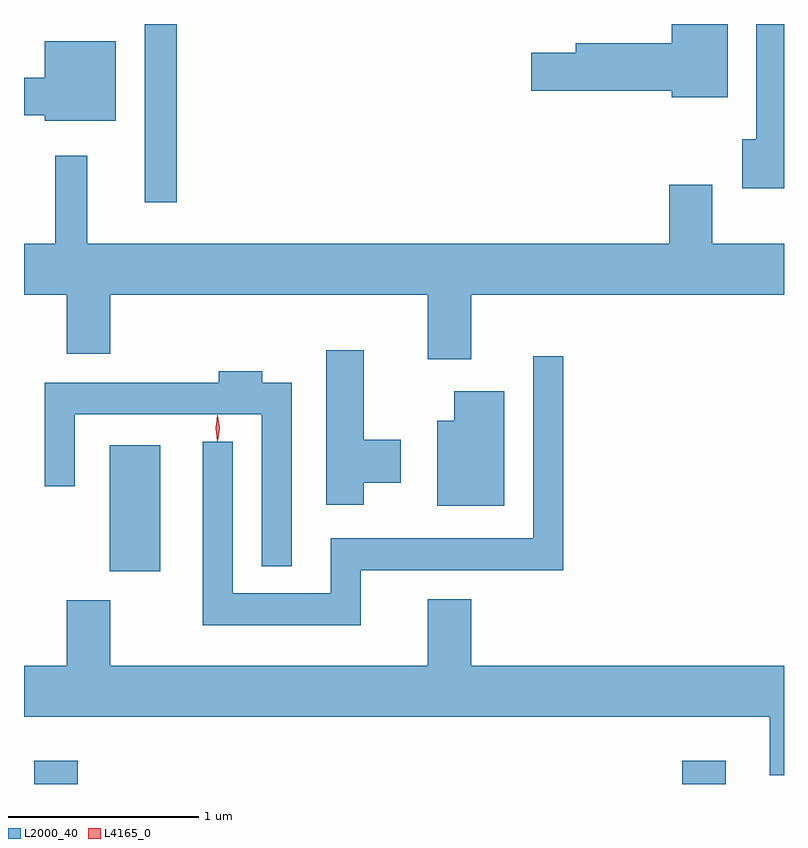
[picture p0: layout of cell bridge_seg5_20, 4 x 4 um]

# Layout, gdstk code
import gdstk
lib = gdstk.Library(unit=1e-6, precision=1e-09)
def R(c, l, rs):  # rectangles x0, y0, x1, y1
    for r in rs: c.add(gdstk.rectangle(r[:2], r[2:], *l))
def P(c, l, *ps):  # polygons
    for p in ps: c.add(gdstk.Polygon(p, *l))
L2000_40 = (2000, 40)
L4165_0 = (4165, 0)

bridge_seg5_20 = lib.new_cell('bridge_seg5_20')
R(bridge_seg5_20, L2000_40, [(1263.821,1474.201,1264.049,1474.324), (1267.231,1474.201,1267.459,1474.324), (1264.216,1475.321,1264.484,1475.984), (1264.401,1477.263,1264.569,1478.201)])
P(bridge_seg5_20, L2000_40, [(1267.766,1478.201),(1267.621,1478.201),(1267.621,1477.594),(1267.546,1477.594),(1267.546,1477.336),(1267.766,1477.336)],
  [(1267.469,1478.201),(1267.176,1478.201),(1267.176,1478.099),(1266.671,1478.099),(1266.671,1478.049),(1266.436,1478.049),(1266.436,1477.851),(1267.176,1477.851),(1267.176,1477.816),(1267.469,1477.816)],
  [(1264.249,1478.109),(1263.876,1478.109),(1263.876,1477.919),(1263.766,1477.919),(1263.766,1477.721),(1263.876,1477.721),(1263.876,1477.691),(1264.249,1477.691)],
  [(1266.119,1476.776),(1267.766,1476.776),(1267.766,1477.044),(1267.389,1477.044),(1267.389,1477.354),(1267.161,1477.354),(1267.161,1477.044),(1264.099,1477.044),(1264.099,1477.508),(1263.931,1477.508),(1263.931,1477.044),(1263.766,1477.044),(1263.766,1476.776),(1263.991,1476.776),(1263.991,1476.466),(1264.219,1476.466),(1264.219,1476.776),(1265.891,1476.776),(1265.891,1476.436),(1266.119,1476.436)],
  [(1265.554,1475.786),(1265.749,1475.786),(1265.749,1476.014),(1265.554,1476.014),(1265.554,1476.484),(1265.356,1476.484),(1265.356,1475.671),(1265.554,1475.671)],
  [(1265.539,1475.326),(1266.604,1475.326),(1266.604,1476.453),(1266.446,1476.453),(1266.446,1475.494),(1265.381,1475.494),(1265.381,1475.204),(1264.864,1475.204),(1264.864,1476.003),(1264.706,1476.003),(1264.706,1475.036),(1265.539,1475.036)],
  [(1265.174,1476.314),(1265.019,1476.314),(1265.019,1476.374),(1264.791,1476.374),(1264.791,1476.314),(1263.876,1476.314),(1263.876,1475.768),(1264.034,1475.768),(1264.034,1476.146),(1265.016,1476.146),(1265.016,1475.348),(1265.174,1475.348)],
  [(1266.294,1476.269),(1266.031,1476.269),(1266.031,1476.114),(1265.941,1476.114),(1265.941,1475.666),(1266.294,1475.666)],
  [(1267.766,1474.824),(1266.119,1474.824),(1266.119,1475.174),(1265.891,1475.174),(1265.891,1474.824),(1264.219,1474.824),(1264.219,1475.169),(1263.991,1475.169),(1263.991,1474.824),(1263.766,1474.824),(1263.766,1474.556),(1267.691,1474.556),(1267.691,1474.246),(1267.766,1474.246)])
P(bridge_seg5_20, L4165_0, [(1264.784,1476.004),(1264.775,1476.073),(1264.784,1476.142),(1264.785,1476.143),(1264.785,1476.142),(1264.795,1476.073),(1264.785,1476.004),(1264.785,1476.004)],
  [(1264.784,1476.007),(1264.784,1476.007),(1264.774,1476.074),(1264.784,1476.14),(1264.784,1476.14),(1264.785,1476.14),(1264.794,1476.074),(1264.785,1476.007)])

lib.write_gds('bridge_seg5_20.gds')
